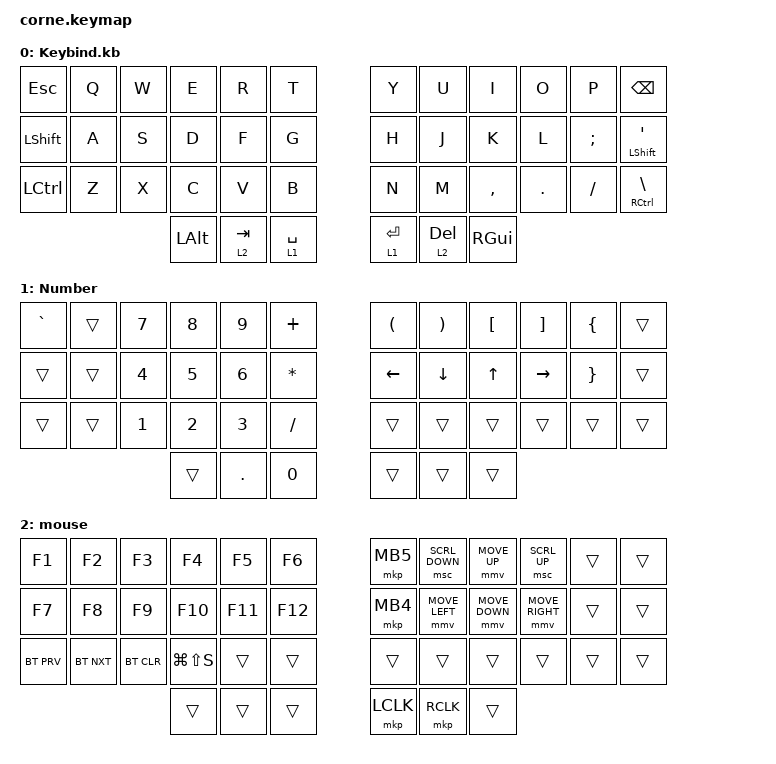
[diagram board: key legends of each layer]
/*
 * Copyright (c) 2020 The ZMK Contributors
 *
 * SPDX-License-Identifier: MIT
 */

#include <behaviors.dtsi>
#include <dt-bindings/zmk/bt.h>
#include <dt-bindings/zmk/keys.h>
#include <dt-bindings/zmk/pointing.h>

/ {
    macros {
        Profile_MacOS: Profile_MacOS {
            compatible = "zmk,behavior-macro";
            #binding-cells = <0>;
            bindings = <&to 0 &bt BT_SEL 0>;
            label = "PROFILE_MACOS";
        };

        Profile_Linux: Profile_Linux {
            compatible = "zmk,behavior-macro";
            #binding-cells = <0>;
            bindings = <&to 0 &bt BT_SEL 1>;
            label = "PROFILE_LINUX";
        };

        Profile_surface: profile_surface {
            compatible = "zmk,behavior-macro";
            #binding-cells = <0>;
            bindings = <&to 0 &bt BT_SEL 2>;
            label = "PROFILE_SURFACE";
        };
    };

    behaviors {
        hml: hml {
            compatible = "zmk,behavior-hold-tap";
            label = "HML";
            bindings = <&kp>, <&kp>;

            #binding-cells = <2>;
            tapping-term-ms = <250>;
            flavor = "hold-preferred";
            hold-trigger-key-positions = <13 14 15 16 17 18 19 20 21 22 38 37 36 39 40 41 0 1 2 3 4 5 29 28 27 26 25 24 12 6 7 8 9 10 11 18 19 20 21 22 23 30 31 32 33 34 35>;
        };
    };

    combos {
        compatible = "zmk,combos";

        minus {
            bindings = <&kp MINUS>;
            key-positions = <4 7>;
        };

        underscore {
            bindings = <&kp UNDER>;
            key-positions = <28 31>;
        };

        equals {
            bindings = <&kp EQUAL>;
            key-positions = <17 18>;
        };

        capword {
            bindings = <&caps_word>;
            key-positions = <5 6>;
        };

        ctrl_alt_del {
            bindings = <&kp LC(LA(DELETE))>;
            key-positions = <29 30>;
        };

        Home {
            bindings = <&kp HOME>;
            key-positions = <7 19>;
        };

        end {
            bindings = <&kp END>;
            key-positions = <20 8>;
        };

        lshft {
            bindings = <&kp LSHFT>;
            key-positions = <15 16>;
        };

        rshft {
            bindings = <&kp RSHFT>;
            key-positions = <19 20>;
        };

        lctrl {
            bindings = <&kp LCTRL>;
            key-positions = <16 14>;
        };

        rctrl {
            bindings = <&kp RCTRL>;
            key-positions = <19 21>;
        };

        page_up {
            bindings = <&kp PAGE_UP>;
            key-positions = <4 16>;
        };

        page_down {
            bindings = <&kp PAGE_DOWN>;
            key-positions = <3 15>;
        };
    };

    keymap {
        compatible = "zmk,keymap";

        default_layer {
            display-name = "Keybind.kb";
            bindings = <
&kp ESCAPE  &kp Q  &kp W  &kp E         &kp R      &kp T          &kp Y        &kp U         &kp I      &kp O    &kp P          &kp BSPC
&kp LSHFT   &kp A  &kp S  &kp D         &kp F      &kp G          &kp H        &kp J         &kp K      &kp L    &kp SEMICOLON  &hml LSHFT SQT
&kp LCTRL   &kp Z  &kp X  &kp C         &kp V      &kp B          &kp N        &kp M         &kp COMMA  &kp DOT  &kp FSLH       &hml RCTRL BACKSLASH
                          &kp LEFT_ALT  &lt 2 TAB  &lt 1 SPACE    &lt 1 ENTER  &lt 2 DELETE  &kp RGUI
            >;
        };

        NUM {
            display-name = "Number";
            bindings = <
&kp GRAVE  &trans  &kp N7  &kp N8  &kp N9   &kp PLUS     &kp LEFT_PARENTHESIS  &kp RIGHT_PARENTHESIS  &kp LEFT_BRACKET  &kp RIGHT_BRACKET  &kp LEFT_BRACE   &trans
&trans     &trans  &kp N4  &kp N5  &kp N6   &kp ASTRK    &kp LEFT_ARROW        &kp DOWN               &kp UP_ARROW      &kp RIGHT          &kp RIGHT_BRACE  &trans
&trans     &trans  &kp N1  &kp N2  &kp N3   &kp SLASH    &trans                &trans                 &trans            &trans             &trans           &trans
                           &trans  &kp DOT  &kp N0       &trans                &trans                 &trans
            >;
        };

        functionMouse {
            display-name = "mouse";
            bindings = <
&kp F1      &kp F2      &kp F3      &kp F4         &kp F5   &kp F6     &mkp MB5   &msc SCRL_DOWN  &mmv MOVE_UP    &msc SCRL_UP     &trans  &trans
&kp F7      &kp F8      &kp F9      &kp F10        &kp F11  &kp F12    &mkp MB4   &mmv MOVE_LEFT  &mmv MOVE_DOWN  &mmv MOVE_RIGHT  &trans  &trans
&bt BT_PRV  &bt BT_NXT  &bt BT_CLR  &kp LG(LS(S))  &trans   &trans     &trans     &trans          &trans          &trans           &trans  &trans
                                    &trans         &trans   &trans     &mkp LCLK  &mkp RCLK       &trans
            >;
        };
    };
};
